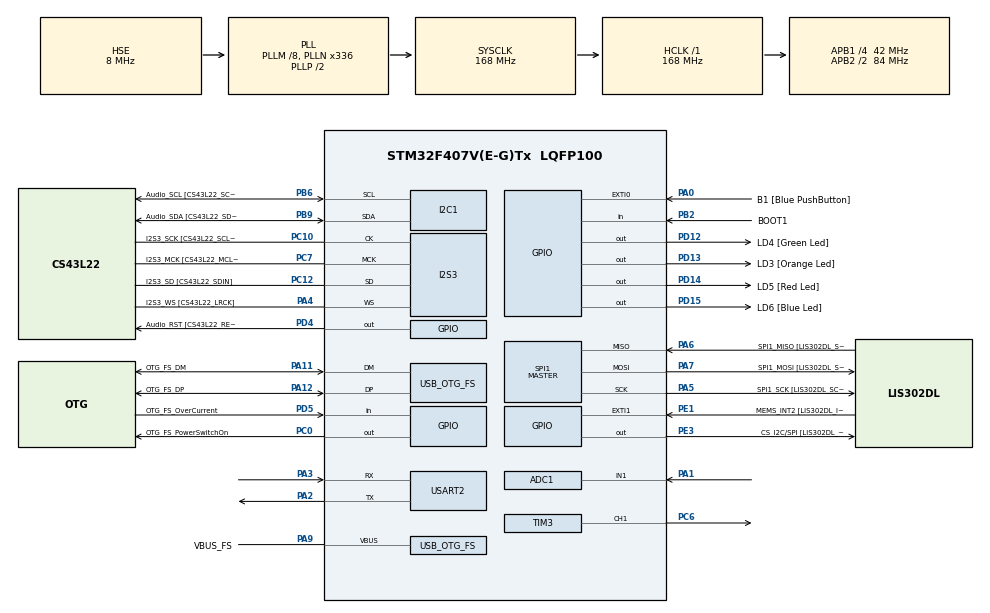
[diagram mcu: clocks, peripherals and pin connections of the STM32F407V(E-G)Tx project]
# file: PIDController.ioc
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ADC1.Channel-0\#ChannelRegularConversion=ADC_CHANNEL_1
ADC1.ContinuousConvMode=ENABLE
ADC1.DMAContinuousRequests=ENABLE
ADC1.InjNumberOfConversion=0
ADC1.NbrOfConversionFlag=1
ADC1.Rank-0\#ChannelRegularConversion=1
ADC1.SamplingTime-0\#ChannelRegularConversion=ADC_SAMPLETIME_144CYCLES
ADC1.master=1
Dma.ADC1.0.Direction=DMA_PERIPH_TO_MEMORY
Dma.ADC1.0.FIFOMode=DMA_FIFOMODE_DISABLE
Dma.ADC1.0.Instance=DMA2_Stream0
Dma.ADC1.0.MemDataAlignment=DMA_MDATAALIGN_HALFWORD
Dma.ADC1.0.MemInc=DMA_MINC_ENABLE
Dma.ADC1.0.Mode=DMA_NORMAL
Dma.ADC1.0.PeriphDataAlignment=DMA_PDATAALIGN_HALFWORD
Dma.ADC1.0.PeriphInc=DMA_PINC_DISABLE
Dma.ADC1.0.Priority=DMA_PRIORITY_LOW
Dma.Request0=ADC1
I2S3.AudioFreq-Half_Duplex_Master=I2S_AUDIOFREQ_96K
I2S3.ErrorAudioFreq=-2.34 %
I2S3.ErrorAudioFreq-Half_Duplex_Master=0.8 %
I2S3.FullDuplexMode=I2S_FULLDUPLEXMODE_DISABLE
I2S3.Instance=SPI$Index
I2S3.RealAudioFreq=93.75 KHz
I2S3.RealAudioFreq-Half_Duplex_Master=96.774 KHz
I2S3.VirtualMode=I2S_MODE_MASTER
Mcu.Family=STM32F4
Mcu.Name=STM32F407V(E-G)Tx
Mcu.Package=LQFP100
NVIC.DMA2_Stream0_IRQn=true\:0\:0\:false\:false\:true\:false\:true
NVIC.OTG_FS_IRQn=true\:0\:0\:false\:false\:true\:true\:true
NVIC.PriorityGroup=NVIC_PRIORITYGROUP_0
NVIC.TIM7_IRQn=true\:0\:0\:false\:false\:true\:true\:true
NVIC.USART2_IRQn=true\:0\:0\:false\:false\:true\:true\:true
PA0-WKUP.GPIO_Label=B1 [Blue PushButton]
PA0-WKUP.GPIO_ModeDefaultEXTI=GPIO_MODE_EVT_RISING
PA0-WKUP.GPIO_PuPd=GPIO_NOPULL
PA0-WKUP.Signal=GPXTI0
PA1.Signal=ADCx_IN1
PA10.GPIO_Label=OTG_FS_ID
PA10.GPIO_Mode=GPIO_MODE_AF_PP
PA10.GPIO_PuPd=GPIO_NOPULL
PA10.GPIO_Speed=GPIO_SPEED_FREQ_LOW
PA10.Signal=USB_OTG_FS_ID
PA11.GPIO_Label=OTG_FS_DM
PA11.GPIO_Mode=GPIO_MODE_AF_PP
PA11.GPIO_PuPd=GPIO_NOPULL
PA11.GPIO_Speed=GPIO_SPEED_FREQ_LOW
PA11.Mode=Host_Only
PA11.Signal=USB_OTG_FS_DM
PA12.GPIO_Label=OTG_FS_DP
PA12.GPIO_Mode=GPIO_MODE_AF_PP
PA12.GPIO_PuPd=GPIO_NOPULL
PA12.GPIO_Speed=GPIO_SPEED_FREQ_LOW
PA12.Mode=Host_Only
PA12.Signal=USB_OTG_FS_DP
PA13.GPIO_Label=SWDIO
PA13.Mode=Serial_Wire
PA13.Signal=SYS_JTMS-SWDIO
PA14.GPIO_Label=SWCLK
PA14.Mode=Serial_Wire
PA14.Signal=SYS_JTCK-SWCLK
PA2.Mode=Asynchronous
PA2.Signal=USART2_TX
PA3.Mode=Asynchronous
PA3.Signal=USART2_RX
PA4.GPIO_Label=I2S3_WS [CS43L22_LRCK]
PA4.GPIO_Mode=GPIO_MODE_AF_PP
PA4.GPIO_PuPd=GPIO_NOPULL
PA4.GPIO_Speed=GPIO_SPEED_FREQ_LOW
PA4.Mode=Half_Duplex_Master
PA4.Signal=I2S3_WS
PA5.GPIO_Label=SPI1_SCK [LIS302DL_SCL/SPC]
PA5.GPIO_Mode=GPIO_MODE_AF_PP
PA5.GPIO_PuPd=GPIO_NOPULL
PA5.GPIO_Speed=GPIO_SPEED_FREQ_LOW
PA5.Mode=Full_Duplex_Master
PA5.Signal=SPI1_SCK
PA6.GPIO_Label=SPI1_MISO [LIS302DL_SDO]
PA6.GPIO_Mode=GPIO_MODE_AF_PP
PA6.GPIO_PuPd=GPIO_NOPULL
PA6.GPIO_Speed=GPIO_SPEED_FREQ_LOW
PA6.Mode=Full_Duplex_Master
PA6.Signal=SPI1_MISO
PA7.GPIO_Label=SPI1_MOSI [LIS302DL_SDA/SDI/SDO]
PA7.GPIO_Mode=GPIO_MODE_AF_PP
PA7.GPIO_PuPd=GPIO_NOPULL
PA7.GPIO_Speed=GPIO_SPEED_FREQ_LOW
PA7.Mode=Full_Duplex_Master
PA7.Signal=SPI1_MOSI
PA9.GPIO_Label=VBUS_FS
PA9.GPIO_Mode=GPIO_MODE_INPUT
PA9.GPIO_PuPd=GPIO_NOPULL
PA9.Mode=Activate_VBUS
PA9.Signal=USB_OTG_FS_VBUS
PB10.GPIO_Label=CLK_IN [MP45DT02_CLK]
PB10.GPIO_Mode=GPIO_MODE_AF_PP
PB10.GPIO_PuPd=GPIO_NOPULL
PB10.GPIO_Speed=GPIO_SPEED_FREQ_LOW
PB10.Signal=I2S2_CK
PB2.GPIO_Label=BOOT1
PB2.GPIO_Mode=GPIO_MODE_INPUT
PB2.GPIO_PuPd=GPIO_NOPULL
PB2.Signal=GPIO_Input
PB3.GPIO_Label=SWO
PB3.Signal=SYS_JTDO-SWO
PB6.GPIO_Label=Audio_SCL [CS43L22_SCL]
PB6.GPIO_Mode=GPIO_MODE_AF_OD
PB6.GPIO_PuPd=GPIO_NOPULL
PB6.GPIO_Speed=GPIO_SPEED_FREQ_LOW
PB6.Mode=I2C
PB6.Signal=I2C1_SCL
PB9.GPIO_Label=Audio_SDA [CS43L22_SDA]
PB9.GPIO_Mode=GPIO_MODE_AF_OD
PB9.GPIO_PuPd=GPIO_NOPULL
PB9.GPIO_Speed=GPIO_SPEED_FREQ_LOW
PB9.Mode=I2C
PB9.Signal=I2C1_SDA
PC0.GPIO_Label=OTG_FS_PowerSwitchOn
PC0.GPIO_PuPd=GPIO_NOPULL
PC0.GPIO_Speed=GPIO_SPEED_FREQ_LOW
PC0.PinState=GPIO_PIN_SET
PC0.Signal=GPIO_Output
PC10.GPIO_Label=I2S3_SCK [CS43L22_SCLK]
PC10.GPIO_Mode=GPIO_MODE_AF_PP
PC10.GPIO_PuPd=GPIO_NOPULL
PC10.GPIO_Speed=GPIO_SPEED_FREQ_LOW
PC10.Mode=Half_Duplex_Master
PC10.Signal=I2S3_CK
PC12.GPIO_Label=I2S3_SD [CS43L22_SDIN]
PC12.GPIO_Mode=GPIO_MODE_AF_PP
PC12.GPIO_PuPd=GPIO_NOPULL
PC12.GPIO_Speed=GPIO_SPEED_FREQ_LOW
PC12.Mode=Half_Duplex_Master
PC12.Signal=I2S3_SD
PC14-OSC32_IN.GPIO_Label=PC14-OSC32_IN
PC14-OSC32_IN.Mode=LSE-External-Oscillator
PC14-OSC32_IN.Signal=RCC_OSC32_IN
PC15-OSC32_OUT.GPIO_Label=PC15-OSC32_OUT
PC15-OSC32_OUT.Mode=LSE-External-Oscillator
PC15-OSC32_OUT.Signal=RCC_OSC32_OUT
PC3.GPIO_Label=PDM_OUT [MP45DT02_DOUT]
PC3.GPIO_Mode=GPIO_MODE_AF_PP
PC3.GPIO_PuPd=GPIO_NOPULL
PC3.GPIO_Speed=GPIO_SPEED_FREQ_LOW
PC3.Signal=I2S2_SD
PC6.Signal=S_TIM3_CH1
PC7.GPIO_Label=I2S3_MCK [CS43L22_MCLK]
PC7.GPIO_Mode=GPIO_MODE_AF_PP
PC7.GPIO_PuPd=GPIO_NOPULL
PC7.GPIO_Speed=GPIO_SPEED_FREQ_LOW
PC7.Mode=Master_Clock_Activated
PC7.Signal=I2S3_MCK
PD12.GPIO_Label=LD4 [Green Led]
PD12.GPIO_PuPd=GPIO_NOPULL
PD12.GPIO_Speed=GPIO_SPEED_FREQ_LOW
PD12.Signal=GPIO_Output
PD13.GPIO_Label=LD3 [Orange Led]
PD13.GPIO_PuPd=GPIO_NOPULL
PD13.GPIO_Speed=GPIO_SPEED_FREQ_LOW
PD13.Signal=GPIO_Output
PD14.GPIO_Label=LD5 [Red Led]
PD14.GPIO_PuPd=GPIO_NOPULL
PD14.GPIO_Speed=GPIO_SPEED_FREQ_LOW
PD14.Signal=GPIO_Output
PD15.GPIO_Label=LD6 [Blue Led]
PD15.GPIO_PuPd=GPIO_NOPULL
PD15.GPIO_Speed=GPIO_SPEED_FREQ_LOW
PD15.Signal=GPIO_Output
PD4.GPIO_Label=Audio_RST [CS43L22_RESET]
PD4.GPIO_PuPd=GPIO_NOPULL
PD4.GPIO_Speed=GPIO_SPEED_FREQ_LOW
PD4.Signal=GPIO_Output
PD5.GPIO_Label=OTG_FS_OverCurrent
PD5.GPIO_Mode=GPIO_MODE_INPUT
PD5.GPIO_PuPd=GPIO_NOPULL
PD5.Signal=GPIO_Input
PE1.GPIO_Label=MEMS_INT2 [LIS302DL_INT2]
PE1.GPIO_ModeDefaultEXTI=GPIO_MODE_EVT_RISING
PE1.GPIO_PuPd=GPIO_NOPULL
PE1.Signal=GPXTI1
PE3.GPIO_Label=CS_I2C/SPI [LIS302DL_CS_I2C/SPI]
PE3.GPIO_PuPd=GPIO_NOPULL
PE3.GPIO_Speed=GPIO_SPEED_FREQ_LOW
PE3.Signal=GPIO_Output
PH0-OSC_IN.GPIO_Label=PH0-OSC_IN
PH0-OSC_IN.Mode=HSE-External-Oscillator
PH0-OSC_IN.Signal=RCC_OSC_IN
PH1-OSC_OUT.GPIO_Label=PH1-OSC_OUT
PH1-OSC_OUT.Mode=HSE-External-Oscillator
PH1-OSC_OUT.Signal=RCC_OSC_OUT
ProjectManager.HeapSize=0x200
ProjectManager.StackSize=0x400
ProjectManager.TargetToolchain=STM32CubeIDE
RCC.48MHZClocksFreq_Value=48000000
RCC.AHBFreq_Value=168000000
RCC.APB1CLKDivider=RCC_HCLK_DIV4
RCC.APB1Freq_Value=42000000
RCC.APB1TimFreq_Value=84000000
RCC.APB2CLKDivider=RCC_HCLK_DIV2
RCC.APB2Freq_Value=84000000
RCC.APB2TimFreq_Value=168000000
RCC.CortexFreq_Value=168000000
RCC.HCLKFreq_Value=168000000
RCC.HSE_VALUE=8000000
RCC.HSI_VALUE=16000000
RCC.PLLM=8
RCC.PLLN=336
RCC.PLLQ=7
RCC.SYSCLKFreq_VALUE=168000000
RCC.SYSCLKSource=RCC_SYSCLKSOURCE_PLLCLK
RCC.VCOOutputFreq_Value=336000000
SH.ADCx_IN1.0=ADC1_IN1,IN1
SH.S_TIM3_CH1.0=TIM3_CH1,PWM Generation1 CH1
SPI1.BaudRatePrescaler-Full_Duplex_Master=SPI_BAUDRATEPRESCALER_2
SPI1.CalculateBaudRate-Full_Duplex_Master=42.0 MBits/s
SPI1.Direction=SPI_DIRECTION_2LINES
SPI1.Mode=SPI_MODE_MASTER
SPI1.Mode-Full_Duplex_Master=SPI_MODE_MASTER
SPI1.VirtualType=VM_MASTER
TIM3.AutoReloadPreload=TIM_AUTORELOAD_PRELOAD_ENABLE
TIM3.Channel-PWM\ Generation1\ CH1=TIM_CHANNEL_1
TIM3.OCMode_PWM-PWM\ Generation1\ CH1=TIM_OCMODE_PWM1
TIM3.Period=999
TIM3.Prescaler=83
TIM3.Pulse-PWM\ Generation1\ CH1=499
TIM7.Period=9999
TIM7.Prescaler=167
USART2.OverSampling=UART_OVERSAMPLING_8
USART2.VirtualMode=VM_ASYNC
USB_HOST.BSP.number=1
USB_HOST.USBH_HandleTypeDef-CDC_FS=hUsbHostFS
USB_HOST.VirtualModeFS=Cdc
USB_HOST0.BSP.STBoard=false
USB_HOST0.BSP.api=Unknown
USB_HOST0.BSP.i2caddr=0
USB_HOST0.BSP.i2creg=0
USB_HOST0.BSP.instance=PC0
USB_HOST0.BSP.ip=GPIO
USB_HOST0.BSP.mode=Output
USB_HOST0.BSP.name=Drive_VBUS_FS
USB_HOST0.BSP.solution=PC0
USB_OTG_FS.VirtualMode=Host_Only
USB_OTG_FS.phy_itface=HCD_PHY_EMBEDDED
VP_TIM7_VS_ClockSourceINT.Mode=Enable_Timer
VP_USB_HOST_VS_USB_HOST_CDC_FS.Mode=CDC_FS
board=STM32F407G-DISC1

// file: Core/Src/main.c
/* USER CODE BEGIN Header */
/**
  ******************************************************************************
  * @file           : main.c
  * @brief          : Main program body
  ******************************************************************************
  * @attention
  *
  * <h2><center>&copy; Copyright (c) 2022 STMicroelectronics.
  * All rights reserved.</center></h2>
  *
  * This software component is licensed by ST under Ultimate Liberty license
  * SLA0044, the "License"; You may not use this file except in compliance with
  * the License. You may obtain a copy of the License at:
  *                             www.st.com/SLA0044
  *
  ******************************************************************************
  */
/* USER CODE END Header */

#include "main.h"
#include "usb_host.h"

/* USER CODE BEGIN Includes */
#include <math.h>
#include <string.h>
#include <stdio.h>
#include <stdlib.h>
#include "pid.h"
#include "com.h"
/* USER CODE END Includes */

ADC_HandleTypeDef hadc1;
DMA_HandleTypeDef hdma_adc1;

I2C_HandleTypeDef hi2c1;

I2S_HandleTypeDef hi2s3;

SPI_HandleTypeDef hspi1;

TIM_HandleTypeDef htim3;
TIM_HandleTypeDef htim7;

UART_HandleTypeDef huart2;

void SystemClock_Config(void);
static void MX_GPIO_Init(void);
static void MX_I2C1_Init(void);
static void MX_I2S3_Init(void);
static void MX_SPI1_Init(void);
static void MX_DMA_Init(void);
static void MX_ADC1_Init(void);
static void MX_TIM3_Init(void);
static void MX_USART2_UART_Init(void);
static void MX_TIM7_Init(void);
void MX_USB_HOST_Process(void);

/* USER CODE BEGIN 0 */

#define KP 10
#define KI 1
#define KD 0
#define TS 0.01

uint8_t u2rx = 0;

uint32_t adcRawValue = 0;
float temperature = 0;
float temperatureFiltered = 0;
float filterRate = 0.1;

float temperatureSetPoint = 50;

uint8_t controlActivation = FALSE;

pidc_t pid;
com_t com;

void powerDriver ( float inp )
{
	if ( inp > 100 )
	{
		inp = 99.9;
	}
	else if (inp < 0 )
	{
		inp = 0;
	}

	__HAL_TIM_SET_COMPARE ( &htim3, TIM_CHANNEL_1, (uint32_t) inp * 10 );
}

float adcToTemp ( uint32_t adcRaw ) //Calculate temperature from 10 bit ADC value
{
	float adcRawVar = adcRaw;
	// T = ( 1 / a + b ( Ln Rt / R25 ) + c ( Ln Rt / R25 ) 2 + d ( Ln Rt / R25 ) ) - 273
	float Vo=3*adcRawVar/4095;
	float RtRT25=(Vo*10000/(3-Vo))/30000;

	if((RtRT25<60.16)&&(RtRT25>3.195))
		return((1/(3.3545590E-3+(2.5903082E-4*log(RtRT25))+(4.1929419E-6*pow(log(RtRT25),2))+(-7.1497776E-8*pow(log(RtRT25),3))))-273);
	else if((RtRT25<3.195)&&(RtRT25>0.3636))
		return((1/(3.3540178E-3+(2.6021087E-4*log(RtRT25))+(3.5946173E-6*pow(log(RtRT25),2))+(-8.5676875E-8*pow(log(RtRT25),3))))-273);
	else if((RtRT25<0.3636)&&(RtRT25>0.06933))
		return((1/(3.3531474E-3+(2.5743868E-4*log(RtRT25))+(1.7022402E-6*pow(log(RtRT25),2))+(-8.8297492E-8*pow(log(RtRT25),3))))-273);
	else if((RtRT25<0.06933)&&(RtRT25>0.0187))
		return((1/(3.3547977E-3+(2.5879299E-4*log(RtRT25))+(1.8964602E-6*pow(log(RtRT25),2))+(-1.1884916E-7*pow(log(RtRT25),3))))-273);
	else
		return(255.0); //Error Value
}

void appLevelComProcessor ( com_t *driver )
{
	if ( strstr ( ( char* ) driver->rxBuffer, "AT+PIDPRM=" ) != 0 )
	{
		char* tempPtr = driver->rxBuffer;
		float kpLocal = 0;
		float kiLocal = 0;
		float kdLocal = 0;
		float tsLocal = 0;

		tempPtr += ( strlen ( "AT+PIDPRM=" ) );
		kpLocal = atof ( tempPtr );

		tempPtr = strstr ( tempPtr, "," ) + 1;
		kiLocal = atof ( tempPtr );

		tempPtr = strstr ( tempPtr, "," ) + 1;
		kdLocal = atof ( tempPtr );

		tempPtr = strstr ( tempPtr, "," ) + 1;
		tsLocal = atof ( tempPtr );

		pidChangeCoefficients ( &pid, kpLocal, kiLocal, kdLocal, tsLocal );

		strcpy ( ( char* ) driver->txBuffer, "OK\r\n" );
		driver->txIndex = strlen ( ( char* ) driver->txBuffer );
	}
	else if ( strstr ( ( char* ) driver->rxBuffer, "AT+SETPOINT=" ) != 0 )
	{
		temperatureSetPoint = atof ( ( char* ) driver->rxBuffer + 12 );

		strcpy ( ( char* ) driver->txBuffer, "OK\r\n" );
		driver->txIndex = strlen ( ( char* ) driver->txBuffer );
	}
	else if ( strstr ( ( char* ) driver->rxBuffer, "AT+CONTROL=" ) != 0 )
	{
		if ( driver->rxBuffer [ 11 ] == '1' )
		{
			controlActivation = TRUE;
		}
		else
		{
			controlActivation = FALSE;
		}

		strcpy ( ( char* ) driver->txBuffer, "OK\r\n" );
		driver->txIndex = strlen ( ( char* )driver->txBuffer );
	}
	else if ( strstr ( ( char* ) driver->rxBuffer, "AT+TEMPERATURE?" ) != 0 )
	{

		sprintf ( ( char* ) driver->txBuffer, "+TEMPERATURE=%.2f,%d\r\n", temperatureFiltered, ( int ) HAL_GetTick ( ) );
		driver->txIndex = strlen ( ( char* ) driver->txBuffer );
	}
}

/* USER CODE END 0 */

int main(void)
{

  /* MCU Configuration--------------------------------------------------------*/

  /* Reset of all peripherals, Initializes the Flash interface and the Systick. */
  HAL_Init();

  /* Configure the system clock */
  SystemClock_Config();

  /* Initialize all configured peripherals */
  MX_GPIO_Init();
  MX_I2C1_Init();
  MX_I2S3_Init();
  MX_SPI1_Init();
  MX_USB_HOST_Init();
  MX_DMA_Init();
  MX_ADC1_Init();
  MX_TIM3_Init();
  MX_USART2_UART_Init();
  MX_TIM7_Init();
  /* USER CODE BEGIN 2 */
  HAL_UART_Receive_IT ( &huart2, &u2rx, 1 );
  HAL_TIM_Base_Start_IT ( &htim7 );

  HAL_TIM_PWM_Start ( &htim3, TIM_CHANNEL_1 );
  __HAL_TIM_SET_COMPARE ( &htim3, TIM_CHANNEL_1, 0 );

  pidInit ( &pid, KP, KI, KD, TS, 50, -50, 50, -50, 100, 0 );
  comInit ( &com, 10 );

  /* USER CODE END 2 */

  /* Infinite loop */
  /* USER CODE BEGIN WHILE */
  while (1)
  {
	  if ( comIsRxBufferReady ( &com ) == TRUE )
	  {
		  appLevelComProcessor ( &com );

		  if ( comGetTxBufferIndex ( &com ) != 0 )
		  {
			  HAL_UART_Transmit_IT ( &huart2, com.txBuffer, com.txIndex );
			  comSetTxBufferIndex ( &com, 0 );
		  }

		  comRxBufferProcessed ( &com );
	  }

    /* USER CODE END WHILE */
    //MX_USB_HOST_Process();

  }
}

void SystemClock_Config(void)
{
  RCC_OscInitTypeDef RCC_OscInitStruct = {0};
  RCC_ClkInitTypeDef RCC_ClkInitStruct = {0};
  RCC_PeriphCLKInitTypeDef PeriphClkInitStruct = {0};

  /** Configure the main internal regulator output voltage
  */
  __HAL_RCC_PWR_CLK_ENABLE();
  __HAL_PWR_VOLTAGESCALING_CONFIG(PWR_REGULATOR_VOLTAGE_SCALE1);
  /** Initializes the CPU, AHB and APB busses clocks
  */
  RCC_OscInitStruct.OscillatorType = RCC_OSCILLATORTYPE_HSE;
  RCC_OscInitStruct.HSEState = RCC_HSE_ON;
  RCC_OscInitStruct.PLL.PLLState = RCC_PLL_ON;
  RCC_OscInitStruct.PLL.PLLSource = RCC_PLLSOURCE_HSE;
  RCC_OscInitStruct.PLL.PLLM = 8;
  RCC_OscInitStruct.PLL.PLLN = 336;
  RCC_OscInitStruct.PLL.PLLP = RCC_PLLP_DIV2;
  RCC_OscInitStruct.PLL.PLLQ = 7;
  if (HAL_RCC_OscConfig(&RCC_OscInitStruct) != HAL_OK)
  {
    Error_Handler();
  }
  /** Initializes the CPU, AHB and APB busses clocks
  */
  RCC_ClkInitStruct.ClockType = RCC_CLOCKTYPE_HCLK|RCC_CLOCKTYPE_SYSCLK
                              |RCC_CLOCKTYPE_PCLK1|RCC_CLOCKTYPE_PCLK2;
  RCC_ClkInitStruct.SYSCLKSource = RCC_SYSCLKSOURCE_PLLCLK;
  RCC_ClkInitStruct.AHBCLKDivider = RCC_SYSCLK_DIV1;
  RCC_ClkInitStruct.APB1CLKDivider = RCC_HCLK_DIV4;
  RCC_ClkInitStruct.APB2CLKDivider = RCC_HCLK_DIV2;

  if (HAL_RCC_ClockConfig(&RCC_ClkInitStruct, FLASH_LATENCY_5) != HAL_OK)
  {
    Error_Handler();
  }
  PeriphClkInitStruct.PeriphClockSelection = RCC_PERIPHCLK_I2S;
  PeriphClkInitStruct.PLLI2S.PLLI2SN = 192;
  PeriphClkInitStruct.PLLI2S.PLLI2SR = 2;
  if (HAL_RCCEx_PeriphCLKConfig(&PeriphClkInitStruct) != HAL_OK)
  {
    Error_Handler();
  }
}

static void MX_ADC1_Init(void)
{

  ADC_ChannelConfTypeDef sConfig = {0};

  /** Configure the global features of the ADC (Clock, Resolution, Data Alignment and number of conversion)
  */
  hadc1.Instance = ADC1;
  hadc1.Init.ClockPrescaler = ADC_CLOCK_SYNC_PCLK_DIV4;
  hadc1.Init.Resolution = ADC_RESOLUTION_12B;
  hadc1.Init.ScanConvMode = DISABLE;
  hadc1.Init.ContinuousConvMode = ENABLE;
  hadc1.Init.DiscontinuousConvMode = DISABLE;
  hadc1.Init.ExternalTrigConvEdge = ADC_EXTERNALTRIGCONVEDGE_NONE;
  hadc1.Init.ExternalTrigConv = ADC_SOFTWARE_START;
  hadc1.Init.DataAlign = ADC_DATAALIGN_RIGHT;
  hadc1.Init.NbrOfConversion = 1;
  hadc1.Init.DMAContinuousRequests = ENABLE;
  hadc1.Init.EOCSelection = ADC_EOC_SINGLE_CONV;
  if (HAL_ADC_Init(&hadc1) != HAL_OK)
  {
    Error_Handler();
  }
  /** Configure for the selected ADC regular channel its corresponding rank in the sequencer and its sample time.
  */
  sConfig.Channel = ADC_CHANNEL_1;
  sConfig.Rank = 1;
  sConfig.SamplingTime = ADC_SAMPLETIME_144CYCLES;
  if (HAL_ADC_ConfigChannel(&hadc1, &sConfig) != HAL_OK)
  {
    Error_Handler();
  }

}

static void MX_I2C1_Init(void)
{

  hi2c1.Instance = I2C1;
  hi2c1.Init.ClockSpeed = 100000;
  hi2c1.Init.DutyCycle = I2C_DUTYCYCLE_2;
  hi2c1.Init.OwnAddress1 = 0;
  hi2c1.Init.AddressingMode = I2C_ADDRESSINGMODE_7BIT;
  hi2c1.Init.DualAddressMode = I2C_DUALADDRESS_DISABLE;
  hi2c1.Init.OwnAddress2 = 0;
  hi2c1.Init.GeneralCallMode = I2C_GENERALCALL_DISABLE;
  hi2c1.Init.NoStretchMode = I2C_NOSTRETCH_DISABLE;
  if (HAL_I2C_Init(&hi2c1) != HAL_OK)
  {
    Error_Handler();
  }

}

static void MX_I2S3_Init(void)
{

  hi2s3.Instance = SPI3;
  hi2s3.Init.Mode = I2S_MODE_MASTER_TX;
  hi2s3.Init.Standard = I2S_STANDARD_PHILIPS;
  hi2s3.Init.DataFormat = I2S_DATAFORMAT_16B;
  hi2s3.Init.MCLKOutput = I2S_MCLKOUTPUT_ENABLE;
  hi2s3.Init.AudioFreq = I2S_AUDIOFREQ_96K;
  hi2s3.Init.CPOL = I2S_CPOL_LOW;
  hi2s3.Init.ClockSource = I2S_CLOCK_PLL;
  hi2s3.Init.FullDuplexMode = I2S_FULLDUPLEXMODE_DISABLE;
  if (HAL_I2S_Init(&hi2s3) != HAL_OK)
  {
    Error_Handler();
  }

}

static void MX_SPI1_Init(void)
{

  /* SPI1 parameter configuration*/
  hspi1.Instance = SPI1;
  hspi1.Init.Mode = SPI_MODE_MASTER;
  hspi1.Init.Direction = SPI_DIRECTION_2LINES;
  hspi1.Init.DataSize = SPI_DATASIZE_8BIT;
  hspi1.Init.CLKPolarity = SPI_POLARITY_LOW;
  hspi1.Init.CLKPhase = SPI_PHASE_1EDGE;
  hspi1.Init.NSS = SPI_NSS_SOFT;
  hspi1.Init.BaudRatePrescaler = SPI_BAUDRATEPRESCALER_2;
  hspi1.Init.FirstBit = SPI_FIRSTBIT_MSB;
  hspi1.Init.TIMode = SPI_TIMODE_DISABLE;
  hspi1.Init.CRCCalculation = SPI_CRCCALCULATION_DISABLE;
  hspi1.Init.CRCPolynomial = 10;
  if (HAL_SPI_Init(&hspi1) != HAL_OK)
  {
    Error_Handler();
  }

}

static void MX_TIM3_Init(void)
{

  TIM_MasterConfigTypeDef sMasterConfig = {0};
  TIM_OC_InitTypeDef sConfigOC = {0};

  htim3.Instance = TIM3;
  htim3.Init.Prescaler = 83;
  htim3.Init.CounterMode = TIM_COUNTERMODE_UP;
  htim3.Init.Period = 999;
  htim3.Init.ClockDivision = TIM_CLOCKDIVISION_DIV1;
  htim3.Init.AutoReloadPreload = TIM_AUTORELOAD_PRELOAD_ENABLE;
  if (HAL_TIM_PWM_Init(&htim3) != HAL_OK)
  {
    Error_Handler();
  }
  sMasterConfig.MasterOutputTrigger = TIM_TRGO_RESET;
  sMasterConfig.MasterSlaveMode = TIM_MASTERSLAVEMODE_DISABLE;
  if (HAL_TIMEx_MasterConfigSynchronization(&htim3, &sMasterConfig) != HAL_OK)
  {
    Error_Handler();
  }
  sConfigOC.OCMode = TIM_OCMODE_PWM1;
  sConfigOC.Pulse = 499;
  sConfigOC.OCPolarity = TIM_OCPOLARITY_HIGH;
  sConfigOC.OCFastMode = TIM_OCFAST_DISABLE;
  if (HAL_TIM_PWM_ConfigChannel(&htim3, &sConfigOC, TIM_CHANNEL_1) != HAL_OK)
  {
    Error_Handler();
  }
  HAL_TIM_MspPostInit(&htim3);

}

static void MX_TIM7_Init(void)
{

  TIM_MasterConfigTypeDef sMasterConfig = {0};

  htim7.Instance = TIM7;
  htim7.Init.Prescaler = 167;
  htim7.Init.CounterMode = TIM_COUNTERMODE_UP;
  htim7.Init.Period = 9999;
  htim7.Init.AutoReloadPreload = TIM_AUTORELOAD_PRELOAD_DISABLE;
  if (HAL_TIM_Base_Init(&htim7) != HAL_OK)
  {
    Error_Handler();
  }
  sMasterConfig.MasterOutputTrigger = TIM_TRGO_RESET;
  sMasterConfig.MasterSlaveMode = TIM_MASTERSLAVEMODE_DISABLE;
  if (HAL_TIMEx_MasterConfigSynchronization(&htim7, &sMasterConfig) != HAL_OK)
  {
    Error_Handler();
  }

}

static void MX_USART2_UART_Init(void)
{

  huart2.Instance = USART2;
  huart2.Init.BaudRate = 115200;
  huart2.Init.WordLength = UART_WORDLENGTH_8B;
  huart2.Init.StopBits = UART_STOPBITS_1;
  huart2.Init.Parity = UART_PARITY_NONE;
  huart2.Init.Mode = UART_MODE_TX_RX;
  huart2.Init.HwFlowCtl = UART_HWCONTROL_NONE;
  huart2.Init.OverSampling = UART_OVERSAMPLING_8;
  if (HAL_UART_Init(&huart2) != HAL_OK)
  {
    Error_Handler();
  }

}

static void MX_DMA_Init(void)
{

  /* DMA controller clock enable */
  __HAL_RCC_DMA2_CLK_ENABLE();

  /* DMA interrupt init */
  /* DMA2_Stream0_IRQn interrupt configuration */
  HAL_NVIC_SetPriority(DMA2_Stream0_IRQn, 0, 0);
  HAL_NVIC_EnableIRQ(DMA2_Stream0_IRQn);

}

static void MX_GPIO_Init(void)
{
  GPIO_InitTypeDef GPIO_InitStruct = {0};

  /* GPIO Ports Clock Enable */
  __HAL_RCC_GPIOE_CLK_ENABLE();
  __HAL_RCC_GPIOC_CLK_ENABLE();
  __HAL_RCC_GPIOH_CLK_ENABLE();
  __HAL_RCC_GPIOA_CLK_ENABLE();
  __HAL_RCC_GPIOB_CLK_ENABLE();
  __HAL_RCC_GPIOD_CLK_ENABLE();

  /*Configure GPIO pin Output Level */
  HAL_GPIO_WritePin(CS_I2C_SPI_GPIO_Port, CS_I2C_SPI_Pin, GPIO_PIN_RESET);

  /*Configure GPIO pin Output Level */
  HAL_GPIO_WritePin(OTG_FS_PowerSwitchOn_GPIO_Port, OTG_FS_PowerSwitchOn_Pin, GPIO_PIN_SET);

  /*Configure GPIO pin Output Level */
  HAL_GPIO_WritePin(GPIOD, LD4_Pin|LD3_Pin|LD5_Pin|LD6_Pin
                          |Audio_RST_Pin, GPIO_PIN_RESET);

  /*Configure GPIO pin : CS_I2C_SPI_Pin */
  GPIO_InitStruct.Pin = CS_I2C_SPI_Pin;
  GPIO_InitStruct.Mode = GPIO_MODE_OUTPUT_PP;
  GPIO_InitStruct.Pull = GPIO_NOPULL;
  GPIO_InitStruct.Speed = GPIO_SPEED_FREQ_LOW;
  HAL_GPIO_Init(CS_I2C_SPI_GPIO_Port, &GPIO_InitStruct);

  /*Configure GPIO pin : OTG_FS_PowerSwitchOn_Pin */
  GPIO_InitStruct.Pin = OTG_FS_PowerSwitchOn_Pin;
  GPIO_InitStruct.Mode = GPIO_MODE_OUTPUT_PP;
  GPIO_InitStruct.Pull = GPIO_NOPULL;
  GPIO_InitStruct.Speed = GPIO_SPEED_FREQ_LOW;
  HAL_GPIO_Init(OTG_FS_PowerSwitchOn_GPIO_Port, &GPIO_InitStruct);

  /*Configure GPIO pin : PDM_OUT_Pin */
  GPIO_InitStruct.Pin = PDM_OUT_Pin;
  GPIO_InitStruct.Mode = GPIO_MODE_AF_PP;
  GPIO_InitStruct.Pull = GPIO_NOPULL;
  GPIO_InitStruct.Speed = GPIO_SPEED_FREQ_LOW;
  GPIO_InitStruct.Alternate = GPIO_AF5_SPI2;
  HAL_GPIO_Init(PDM_OUT_GPIO_Port, &GPIO_InitStruct);

  /*Configure GPIO pin : B1_Pin */
  GPIO_InitStruct.Pin = B1_Pin;
  GPIO_InitStruct.Mode = GPIO_MODE_EVT_RISING;
  GPIO_InitStruct.Pull = GPIO_NOPULL;
  HAL_GPIO_Init(B1_GPIO_Port, &GPIO_InitStruct);

  /*Configure GPIO pin : BOOT1_Pin */
  GPIO_InitStruct.Pin = BOOT1_Pin;
  GPIO_InitStruct.Mode = GPIO_MODE_INPUT;
  GPIO_InitStruct.Pull = GPIO_NOPULL;
  HAL_GPIO_Init(BOOT1_GPIO_Port, &GPIO_InitStruct);

  /*Configure GPIO pin : CLK_IN_Pin */
  GPIO_InitStruct.Pin = CLK_IN_Pin;
  GPIO_InitStruct.Mode = GPIO_MODE_AF_PP;
  GPIO_InitStruct.Pull = GPIO_NOPULL;
  GPIO_InitStruct.Speed = GPIO_SPEED_FREQ_LOW;
  GPIO_InitStruct.Alternate = GPIO_AF5_SPI2;
  HAL_GPIO_Init(CLK_IN_GPIO_Port, &GPIO_InitStruct);

  /*Configure GPIO pins : LD4_Pin LD3_Pin LD5_Pin LD6_Pin
                           Audio_RST_Pin */
  GPIO_InitStruct.Pin = LD4_Pin|LD3_Pin|LD5_Pin|LD6_Pin
                          |Audio_RST_Pin;
  GPIO_InitStruct.Mode = GPIO_MODE_OUTPUT_PP;
  GPIO_InitStruct.Pull = GPIO_NOPULL;
  GPIO_InitStruct.Speed = GPIO_SPEED_FREQ_LOW;
  HAL_GPIO_Init(GPIOD, &GPIO_InitStruct);

  /*Configure GPIO pin : OTG_FS_OverCurrent_Pin */
  GPIO_InitStruct.Pin = OTG_FS_OverCurrent_Pin;
  GPIO_InitStruct.Mode = GPIO_MODE_INPUT;
  GPIO_InitStruct.Pull = GPIO_NOPULL;
  HAL_GPIO_Init(OTG_FS_OverCurrent_GPIO_Port, &GPIO_InitStruct);

  /*Configure GPIO pin : MEMS_INT2_Pin */
  GPIO_InitStruct.Pin = MEMS_INT2_Pin;
  GPIO_InitStruct.Mode = GPIO_MODE_EVT_RISING;
  GPIO_InitStruct.Pull = GPIO_NOPULL;
  HAL_GPIO_Init(MEMS_INT2_GPIO_Port, &GPIO_InitStruct);

}

/* USER CODE BEGIN 4 */

void HAL_TIM_PeriodElapsedCallback(TIM_HandleTypeDef *htim)
{
    if ( htim->Instance == TIM7 )
    {
    	// 10ms
    	temperature = adcToTemp ( adcRawValue );
    	temperatureFiltered = ( temperature * filterRate ) +  ( temperatureFiltered * ( 1 - filterRate ) );

    	pidControl ( &pid, ( temperatureSetPoint - temperatureFiltered ) );

    	if ( controlActivation == TRUE )
    	{
    		powerDriver ( pidGetOutput ( &pid ) );
    	}
    	else
    	{
    		powerDriver ( 0 );
    	}

    	HAL_ADC_Start_DMA ( &hadc1, (uint32_t *)&adcRawValue, 1 );

    	comTimeoutCounter ( &com );
    }
}

void HAL_UART_TxCpltCallback(UART_HandleTypeDef *huart)
{
    if ( huart->Instance == USART2 )
    {

    }
}

void HAL_UART_RxCpltCallback(UART_HandleTypeDef *huart)
{
    if ( huart->Instance == USART2 )
    {
    	comGetData ( &com, u2rx );

        HAL_UART_Receive_IT ( &huart2, &u2rx, 1 );
    }
}

/* USER CODE END 4 */

void Error_Handler(void)
{
}

/************************ (C) COPYRIGHT STMicroelectronics *****END OF FILE****/
